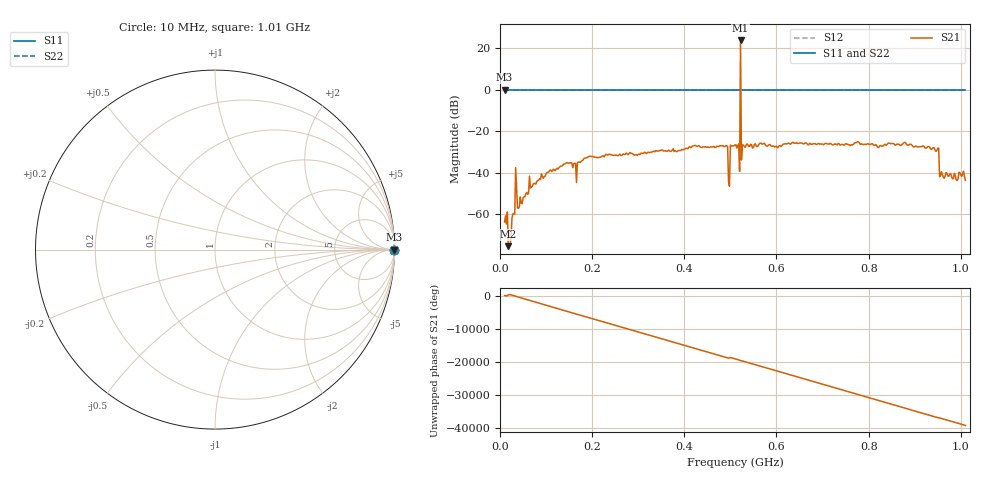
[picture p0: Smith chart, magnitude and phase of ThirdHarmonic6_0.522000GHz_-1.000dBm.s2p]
! 8/15/2025 4:06:33 PM
! C:\ANRITSUVNA\TEMP\TEMP.S2P
! CHANNEL.1
! TR.MEASUREMENT
! RAW.DATA
! RF.CORRECTION.OFF
! AVERAGING.OFF
! IF.BANDWIDTH: 5KHZ
! SWEEPTYPE:  FREQ.SWEEP(Linear)
! Reference Plane Port Info
! PORT:  PORT1  PORT2
! DISTANCE:  0  m  0  m
! TIME:  0  s  0  s
! PHASE.OFFSET:  0  deg.  0  deg.
! LOSS:  0  dB  0  dB
! REF.LOSS:  0  dB  0  dB
! REF.FREQ:  0  Hz  0  Hz
! Power Info
! POWER:  -20  dBm  -20  dBm
! EFF.POWER:  -20  dBm  -20  dBm
! SOURCE.ATTEN:  0  dB  0  dB
! TEST.ATTEN:  0  dB  0  dB
# GHZ S RI R 50.0
! FREQ.GHZ  S11RE  S11IM  S21RE  S21IM  S12RE  S12IM  S22RE  S22IM
!; PortSelection: Port_12
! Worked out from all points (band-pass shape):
!   501 points, 10 MHz to 1.01 GHz, reference 50 ohm
!   highest |S21| = 23.61 dB at 522 MHz (marker M1); lowest = -75.3 dB at 18 MHz (marker M2)
!   |S21| within 3 dB of the highest: 521.9047 MHz to 522.1045 MHz (199.8 kHz wide, 0.0383 % of centre)
!   lowest |S11| = 0.0 dB at 10 MHz (marker M3)
!   |S11| at or under -10 dB: nowhere
!   |S22| runs from 0.0 to 0.0 dB; largest |S21 - S12| = 16
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0.01  1 0  -0.000491 0.000437  1 0  1 0
0.018  1 0  6.29e-05 -0.00016  1 0  1 0
0.022  1 0  0.000154 0.000108  1 0  1 0
0.032  1 0  0.000976 0.000251  1 0  1 0
0.038  1 0  -0.000758 0.00121  1 0  1 0
0.042  1 0  0.00127 -0.000822  1 0  1 0
0.106  1 0  -0.00852 -0.00605  1 0  1 0
0.178  1 0  -0.0194 0.00068  1 0  1 0
0.344  1 0  0.0238 -0.0232  1 0  1 0
0.49  1 0  -0.0443 -0.00906  1 0  1 0
0.498  1 0  0.00467 -0.000891  1 0  1 0
0.51  1 0  -0.0124 0.0448  1 0  1 0
0.516  1 0  -0.0321 -0.0308  1 0  1 0
0.518  1 0  -0.0394 0.0298  1 0  1 0
0.522  1 0  -5.826 -13.99  1 0  1 0
0.526  1 0  -0.0464 0.00391  1 0  1 0
0.528  1 0  -0.00342 0.0463  1 0  1 0
0.678  1 0  -0.0477 0.0107  1 0  1 0
0.844  1 0  0.0299 -0.0423  1 0  1 0
0.948  1 0  0.0155 0.0303  1 0  1 0
0.958  1 0  0.000266 0.0106  1 0  1 0
1.01  1 0  -0.00491 0.00434  1 0  1 0
